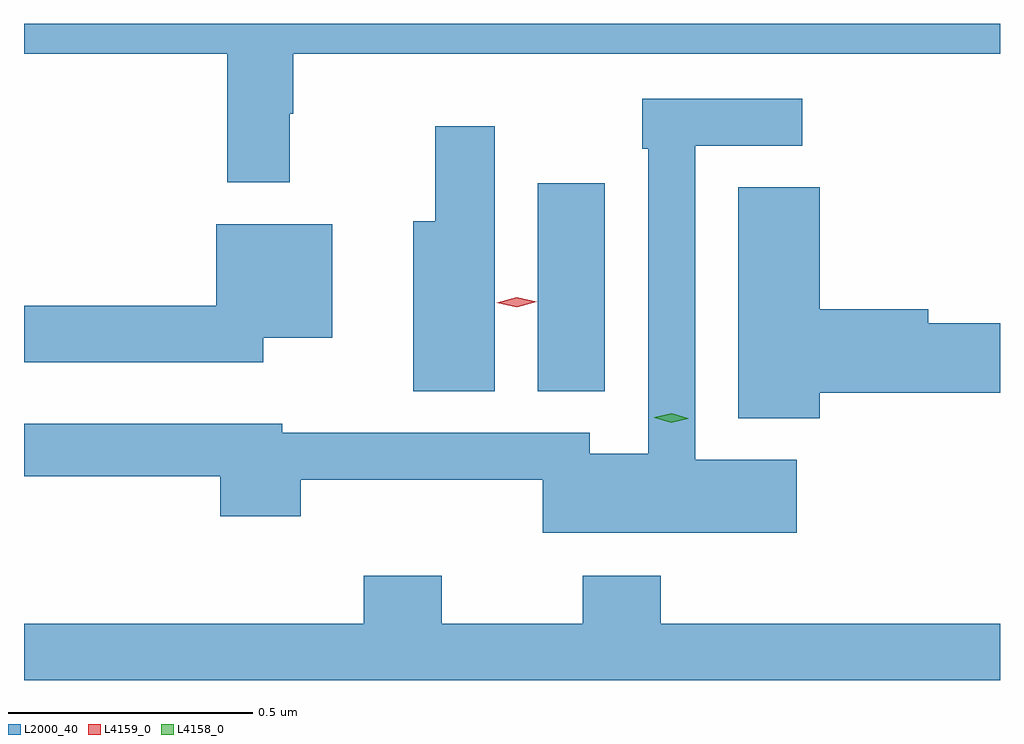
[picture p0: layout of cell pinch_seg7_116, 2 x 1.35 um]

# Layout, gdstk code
import gdstk
lib = gdstk.Library(unit=1e-6, precision=1e-09)
def R(c, l, rs):  # rectangles x0, y0, x1, y1
    for r in rs: c.add(gdstk.rectangle(r[:2], r[2:], *l))
def P(c, l, *ps):  # polygons
    for p in ps: c.add(gdstk.Polygon(p, *l))
L2000_40 = (2000, 40)
L4158_0 = (4158, 0)
L4159_0 = (4159, 0)

pinch_seg7_116 = lib.new_cell('pinch_seg7_116')
R(pinch_seg7_116, L2000_40, [(923.258,998.593,923.395,999.019)])
P(pinch_seg7_116, L2000_40, [(922.75,999.161),(922.757,999.161),(922.757,999.284),(924.205,999.284),(924.205,999.346),(922.205,999.346),(922.205,999.284),(922.621,999.284),(922.621,999.021),(922.75,999.021)],
  [(923.788,998.452),(923.58,998.452),(923.58,999.096),(923.8,999.096),(923.8,999.192),(923.472,999.192),(923.472,999.089),(923.484,999.089),(923.484,998.464),(923.364,998.464),(923.364,998.508),(922.734,998.508),(922.734,998.526),(922.205,998.526),(922.205,998.418),(922.607,998.418),(922.607,998.336),(922.772,998.336),(922.772,998.411),(923.268,998.411),(923.268,998.303),(923.788,998.303)],
  [(923.17,999.136),(923.048,999.136),(923.048,998.941),(923.003,998.941),(923.003,998.593),(923.17,998.593)],
  [(923.836,998.59),(924.205,998.59),(924.205,998.732),(924.058,998.732),(924.058,998.761),(923.836,998.761),(923.836,999.011),(923.669,999.011),(923.669,998.537),(923.836,998.537)],
  [(922.695,998.702),(922.837,998.702),(922.837,998.935),(922.599,998.935),(922.599,998.768),(922.205,998.768),(922.205,998.652),(922.695,998.652)],
  [(924.205,998.116),(923.51,998.116),(923.51,998.215),(923.35,998.215),(923.35,998.116),(923.061,998.116),(923.061,998.215),(922.901,998.215),(922.901,998.116),(922.205,998.116),(922.205,998),(924.205,998)])
P(pinch_seg7_116, L4158_0, [(923.531,998.528),(923.497,998.538),(923.497,998.538),(923.497,998.539),(923.532,998.547),(923.566,998.537),(923.566,998.537),(923.566,998.536)])
P(pinch_seg7_116, L4159_0, [(923.215,998.765),(923.174,998.774),(923.174,998.774),(923.174,998.774),(923.215,998.785),(923.256,998.776),(923.256,998.776),(923.256,998.776)])

lib.write_gds('pinch_seg7_116.gds')
